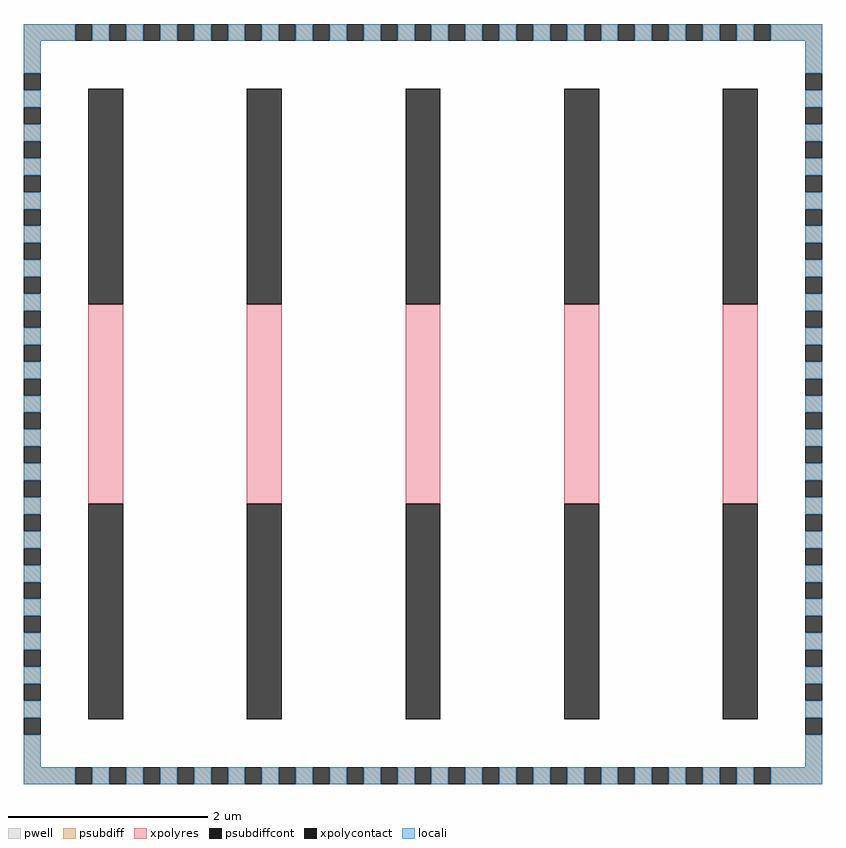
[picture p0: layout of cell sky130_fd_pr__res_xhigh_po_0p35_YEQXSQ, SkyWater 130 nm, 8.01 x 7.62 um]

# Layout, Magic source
magic
tech sky130A
magscale 1 2
<< pwell >>
rect -801 728 801 762
rect -801 -728 -767 728
rect 767 -728 801 728
rect -801 -762 801 -728
<< psubdiff >>
rect -801 728 -697 762
rect -663 728 -629 762
rect -595 728 -561 762
rect -527 728 -493 762
rect -459 728 -425 762
rect -391 728 -357 762
rect -323 728 -289 762
rect -255 728 -221 762
rect -187 728 -153 762
rect -119 728 -85 762
rect -51 728 -17 762
rect 17 728 51 762
rect 85 728 119 762
rect 153 728 187 762
rect 221 728 255 762
rect 289 728 323 762
rect 357 728 391 762
rect 425 728 459 762
rect 493 728 527 762
rect 561 728 595 762
rect 629 728 663 762
rect 697 728 801 762
rect -801 663 -767 728
rect 767 663 801 728
rect -801 595 -767 629
rect -801 527 -767 561
rect -801 459 -767 493
rect -801 391 -767 425
rect -801 323 -767 357
rect -801 255 -767 289
rect -801 187 -767 221
rect -801 119 -767 153
rect -801 51 -767 85
rect -801 -17 -767 17
rect -801 -85 -767 -51
rect -801 -153 -767 -119
rect -801 -221 -767 -187
rect -801 -289 -767 -255
rect -801 -357 -767 -323
rect -801 -425 -767 -391
rect -801 -493 -767 -459
rect -801 -561 -767 -527
rect -801 -629 -767 -595
rect 767 595 801 629
rect 767 527 801 561
rect 767 459 801 493
rect 767 391 801 425
rect 767 323 801 357
rect 767 255 801 289
rect 767 187 801 221
rect 767 119 801 153
rect 767 51 801 85
rect 767 -17 801 17
rect 767 -85 801 -51
rect 767 -153 801 -119
rect 767 -221 801 -187
rect 767 -289 801 -255
rect 767 -357 801 -323
rect 767 -425 801 -391
rect 767 -493 801 -459
rect 767 -561 801 -527
rect 767 -629 801 -595
rect -801 -728 -767 -663
rect 767 -728 801 -663
rect -801 -762 -697 -728
rect -663 -762 -629 -728
rect -595 -762 -561 -728
rect -527 -762 -493 -728
rect -459 -762 -425 -728
rect -391 -762 -357 -728
rect -323 -762 -289 -728
rect -255 -762 -221 -728
rect -187 -762 -153 -728
rect -119 -762 -85 -728
rect -51 -762 -17 -728
rect 17 -762 51 -728
rect 85 -762 119 -728
rect 153 -762 187 -728
rect 221 -762 255 -728
rect 289 -762 323 -728
rect 357 -762 391 -728
rect 425 -762 459 -728
rect 493 -762 527 -728
rect 561 -762 595 -728
rect 629 -762 663 -728
rect 697 -762 801 -728
<< psubdiffcont >>
rect -697 728 -663 762
rect -629 728 -595 762
rect -561 728 -527 762
rect -493 728 -459 762
rect -425 728 -391 762
rect -357 728 -323 762
rect -289 728 -255 762
rect -221 728 -187 762
rect -153 728 -119 762
rect -85 728 -51 762
rect -17 728 17 762
rect 51 728 85 762
rect 119 728 153 762
rect 187 728 221 762
rect 255 728 289 762
rect 323 728 357 762
rect 391 728 425 762
rect 459 728 493 762
rect 527 728 561 762
rect 595 728 629 762
rect 663 728 697 762
rect -801 629 -767 663
rect -801 561 -767 595
rect -801 493 -767 527
rect -801 425 -767 459
rect -801 357 -767 391
rect -801 289 -767 323
rect -801 221 -767 255
rect -801 153 -767 187
rect -801 85 -767 119
rect -801 17 -767 51
rect -801 -51 -767 -17
rect -801 -119 -767 -85
rect -801 -187 -767 -153
rect -801 -255 -767 -221
rect -801 -323 -767 -289
rect -801 -391 -767 -357
rect -801 -459 -767 -425
rect -801 -527 -767 -493
rect -801 -595 -767 -561
rect -801 -663 -767 -629
rect 767 629 801 663
rect 767 561 801 595
rect 767 493 801 527
rect 767 425 801 459
rect 767 357 801 391
rect 767 289 801 323
rect 767 221 801 255
rect 767 153 801 187
rect 767 85 801 119
rect 767 17 801 51
rect 767 -51 801 -17
rect 767 -119 801 -85
rect 767 -187 801 -153
rect 767 -255 801 -221
rect 767 -323 801 -289
rect 767 -391 801 -357
rect 767 -459 801 -425
rect 767 -527 801 -493
rect 767 -595 801 -561
rect 767 -663 801 -629
rect -697 -762 -663 -728
rect -629 -762 -595 -728
rect -561 -762 -527 -728
rect -493 -762 -459 -728
rect -425 -762 -391 -728
rect -357 -762 -323 -728
rect -289 -762 -255 -728
rect -221 -762 -187 -728
rect -153 -762 -119 -728
rect -85 -762 -51 -728
rect -17 -762 17 -728
rect 51 -762 85 -728
rect 119 -762 153 -728
rect 187 -762 221 -728
rect 255 -762 289 -728
rect 323 -762 357 -728
rect 391 -762 425 -728
rect 459 -762 493 -728
rect 527 -762 561 -728
rect 595 -762 629 -728
rect 663 -762 697 -728
<< xpolycontact >>
rect -671 200 -601 632
rect -671 -632 -601 -200
rect -353 200 -283 632
rect -353 -632 -283 -200
rect -35 200 35 632
rect -35 -632 35 -200
rect 283 200 353 632
rect 283 -632 353 -200
rect 601 200 671 632
rect 601 -632 671 -200
<< xpolyres >>
rect -671 -200 -601 200
rect -353 -200 -283 200
rect -35 -200 35 200
rect 283 -200 353 200
rect 601 -200 671 200
<< locali >>
rect -801 728 -697 762
rect -663 728 -629 762
rect -595 728 -561 762
rect -527 728 -493 762
rect -459 728 -425 762
rect -391 728 -357 762
rect -323 728 -289 762
rect -255 728 -221 762
rect -187 728 -153 762
rect -119 728 -85 762
rect -51 728 -17 762
rect 17 728 51 762
rect 85 728 119 762
rect 153 728 187 762
rect 221 728 255 762
rect 289 728 323 762
rect 357 728 391 762
rect 425 728 459 762
rect 493 728 527 762
rect 561 728 595 762
rect 629 728 663 762
rect 697 728 801 762
rect -801 663 -767 728
rect 767 663 801 728
rect -801 595 -767 629
rect -801 527 -767 561
rect -801 459 -767 493
rect -801 391 -767 425
rect -801 323 -767 357
rect -801 255 -767 289
rect -801 187 -767 221
rect 767 595 801 629
rect 767 527 801 561
rect 767 459 801 493
rect 767 391 801 425
rect 767 323 801 357
rect 767 255 801 289
rect -801 119 -767 153
rect -801 51 -767 85
rect -801 -17 -767 17
rect -801 -85 -767 -51
rect -801 -153 -767 -119
rect -801 -221 -767 -187
rect 767 187 801 221
rect 767 119 801 153
rect 767 51 801 85
rect 767 -17 801 17
rect 767 -85 801 -51
rect 767 -153 801 -119
rect -801 -289 -767 -255
rect -801 -357 -767 -323
rect -801 -425 -767 -391
rect -801 -493 -767 -459
rect -801 -561 -767 -527
rect -801 -629 -767 -595
rect 767 -221 801 -187
rect 767 -289 801 -255
rect 767 -357 801 -323
rect 767 -425 801 -391
rect 767 -493 801 -459
rect 767 -561 801 -527
rect 767 -629 801 -595
rect -801 -728 -767 -663
rect 767 -728 801 -663
rect -801 -762 -697 -728
rect -663 -762 -629 -728
rect -595 -762 -561 -728
rect -527 -762 -493 -728
rect -459 -762 -425 -728
rect -391 -762 -357 -728
rect -323 -762 -289 -728
rect -255 -762 -221 -728
rect -187 -762 -153 -728
rect -119 -762 -85 -728
rect -51 -762 -17 -728
rect 17 -762 51 -728
rect 85 -762 119 -728
rect 153 -762 187 -728
rect 221 -762 255 -728
rect 289 -762 323 -728
rect 357 -762 391 -728
rect 425 -762 459 -728
rect 493 -762 527 -728
rect 561 -762 595 -728
rect 629 -762 663 -728
rect 697 -762 801 -728
<< properties >>
string FIXED_BBOX -784 -745 784 745
<< end >>
